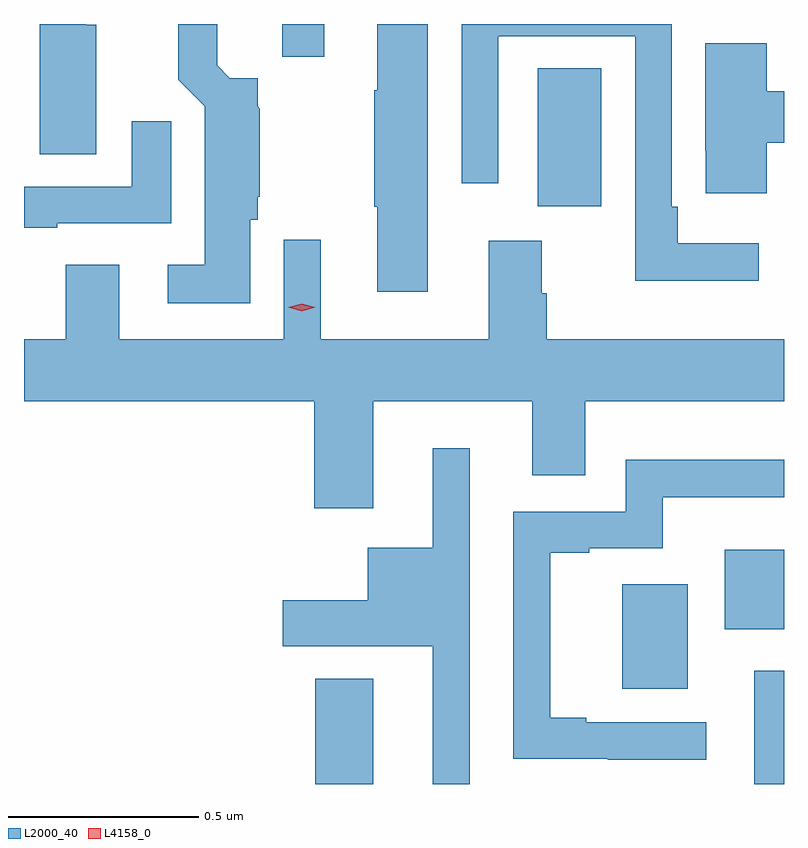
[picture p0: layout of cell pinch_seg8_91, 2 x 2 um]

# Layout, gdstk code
import gdstk
lib = gdstk.Library(unit=1e-6, precision=1e-09)
def R(c, l, rs):  # rectangles x0, y0, x1, y1
    for r in rs: c.add(gdstk.rectangle(r[:2], r[2:], *l))
def P(c, l, *ps):  # polygons
    for p in ps: c.add(gdstk.Polygon(p, *l))
L2000_40 = (2000, 40)
L4158_0 = (4158, 0)

pinch_seg8_91 = lib.new_cell('pinch_seg8_91')
R(pinch_seg8_91, L2000_40, [(1093.604,1106.169,1093.756,1106.446), (1094.759,1106.169,1094.837,1106.467), (1094.411,1106.42,1094.584,1106.695), (1094.681,1106.576,1094.837,1106.785), (1094.189,1107.69,1094.356,1108.052), (1093.517,1108.083,1093.627,1108.169)])
P(pinch_seg8_91, L2000_40, [(1093.432,1107.654),(1093.452,1107.654),(1093.452,1107.714),(1093.458,1107.714),(1093.458,1107.946),(1093.452,1107.952),(1093.452,1108.026),(1093.378,1108.026),(1093.345,1108.06),(1093.345,1108.169),(1093.243,1108.169),(1093.243,1108.022),(1093.313,1107.952),(1093.313,1107.535),(1093.215,1107.535),(1093.215,1107.434),(1093.432,1107.434)],
  [(1093.9,1108.169),(1093.766,1108.169),(1093.766,1107.995),(1093.759,1107.995),(1093.759,1107.688),(1093.766,1107.688),(1093.766,1107.465),(1093.9,1107.465)],
  [(1094.77,1107.592),(1094.557,1107.592),(1094.557,1107.688),(1094.541,1107.688),(1094.541,1108.169),(1093.989,1108.169),(1093.989,1107.75),(1094.085,1107.75),(1094.085,1108.137),(1094.445,1108.137),(1094.445,1107.494),(1094.77,1107.494)],
  [(1093.027,1108.167),(1093,1108.167),(1093,1108.169),(1092.878,1108.169),(1092.878,1107.826),(1093.027,1107.826)],
  [(1094.792,1107.856),(1094.837,1107.856),(1094.837,1107.992),(1094.792,1107.992),(1094.792,1108.119),(1094.63,1108.119),(1094.63,1107.835),(1094.631,1107.835),(1094.631,1107.723),(1094.792,1107.723)],
  [(1092.925,1107.645),(1093.225,1107.645),(1093.225,1107.913),(1093.121,1107.913),(1093.121,1107.741),(1092.837,1107.741),(1092.837,1107.633),(1092.925,1107.633)],
  [(1093.756,1107.176),(1094.174,1107.176),(1094.174,1106.982),(1094.314,1106.982),(1094.314,1107.176),(1094.837,1107.176),(1094.837,1107.34),(1094.213,1107.34),(1094.213,1107.461),(1094.2,1107.461),(1094.2,1107.598),(1094.06,1107.598),(1094.06,1107.34),(1093.618,1107.34),(1093.618,1107.601),(1093.521,1107.601),(1093.521,1107.34),(1093.087,1107.34),(1093.087,1107.535),(1092.947,1107.535),(1092.947,1107.34),(1092.837,1107.34),(1092.837,1107.176),(1093.601,1107.176),(1093.601,1106.895),(1093.756,1106.895)],
  [(1094.01,1107.052),(1093.913,1107.052),(1093.913,1106.791),(1093.742,1106.791),(1093.742,1106.653),(1093.518,1106.653),(1093.518,1106.531),(1093.913,1106.531),(1093.913,1106.169),(1094.01,1106.169)],
  [(1094.632,1106.331),(1094.317,1106.331),(1094.317,1106.344),(1094.222,1106.344),(1094.222,1106.778),(1094.324,1106.778),(1094.324,1106.79),(1094.518,1106.79),(1094.518,1106.924),(1094.837,1106.924),(1094.837,1107.022),(1094.421,1107.022),(1094.421,1106.886),(1094.124,1106.886),(1094.124,1106.235),(1094.373,1106.235),(1094.373,1106.233),(1094.632,1106.233)])
P(pinch_seg8_91, L4158_0, [(1093.568,1107.413),(1093.533,1107.423),(1093.533,1107.423),(1093.533,1107.424),(1093.568,1107.433),(1093.603,1107.424),(1093.604,1107.423),(1093.603,1107.423)])

lib.write_gds('pinch_seg8_91.gds')
